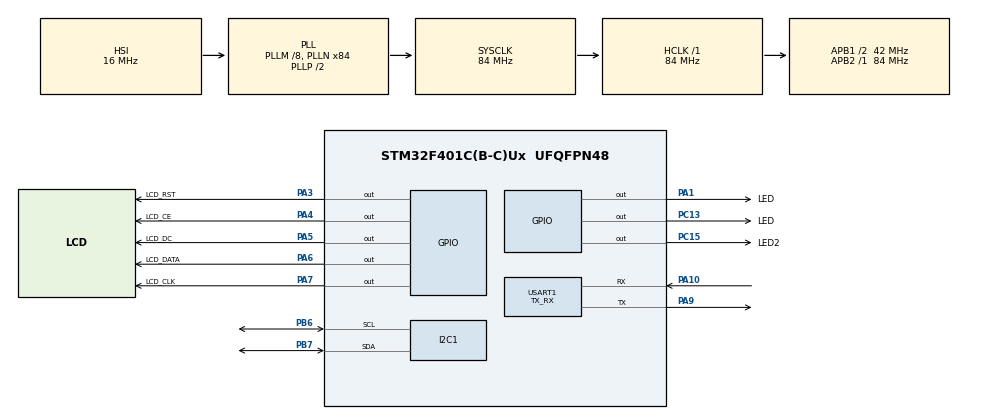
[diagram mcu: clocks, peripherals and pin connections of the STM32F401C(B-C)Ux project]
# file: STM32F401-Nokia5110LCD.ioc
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Mcu.Family=STM32F4
Mcu.Name=STM32F401C(B-C)Ux
Mcu.Package=UFQFPN48
NVIC.PriorityGroup=NVIC_PRIORITYGROUP_4
PA1.GPIO_Label=LED
PA1.Signal=GPIO_Output
PA10.Mode=Asynchronous
PA10.Signal=USART1_RX
PA13.Mode=Serial_Wire
PA13.Signal=SYS_JTMS-SWDIO
PA14.Mode=Serial_Wire
PA14.Signal=SYS_JTCK-SWCLK
PA3.GPIO_Label=LCD_RST
PA3.Signal=GPIO_Output
PA4.GPIO_Label=LCD_CE
PA4.Signal=GPIO_Output
PA5.GPIO_Label=LCD_DC
PA5.Signal=GPIO_Output
PA6.GPIO_Label=LCD_DATA
PA6.Signal=GPIO_Output
PA7.GPIO_Label=LCD_CLK
PA7.Signal=GPIO_Output
PA9.Mode=Asynchronous
PA9.Signal=USART1_TX
PB6.Mode=I2C
PB6.Signal=I2C1_SCL
PB7.Mode=I2C
PB7.Signal=I2C1_SDA
PC13-ANTI_TAMP.GPIO_Label=LED
PC13-ANTI_TAMP.PinState=GPIO_PIN_SET
PC13-ANTI_TAMP.Signal=GPIO_Output
PC15-OSC32_OUT.GPIO_Label=LED2
PC15-OSC32_OUT.GPIO_PuPd=GPIO_PULLDOWN
PC15-OSC32_OUT.Signal=GPIO_Output
PH0\ -\ OSC_IN.Mode=HSE-External-Oscillator
PH0\ -\ OSC_IN.Signal=RCC_OSC_IN
PH1\ -\ OSC_OUT.Mode=HSE-External-Oscillator
PH1\ -\ OSC_OUT.Signal=RCC_OSC_OUT
ProjectManager.HeapSize=0x200
ProjectManager.StackSize=0x400
ProjectManager.TargetToolchain=STM32CubeIDE
RCC.48MHZClocksFreq_Value=33600000
RCC.AHBFreq_Value=84000000
RCC.APB1CLKDivider=RCC_HCLK_DIV2
RCC.APB1Freq_Value=42000000
RCC.APB1TimFreq_Value=84000000
RCC.APB2Freq_Value=84000000
RCC.APB2TimFreq_Value=84000000
RCC.CortexFreq_Value=84000000
RCC.HCLKFreq_Value=84000000
RCC.HSE_VALUE=25000000
RCC.HSI_VALUE=16000000
RCC.LSE_VALUE=32768
RCC.PLLM=8
RCC.PLLN=84
RCC.PLLQ=5
RCC.SYSCLKFreq_VALUE=84000000
RCC.SYSCLKSource=RCC_SYSCLKSOURCE_PLLCLK
RCC.VCOOutputFreq_Value=168000000
USART1.Mode=MODE_TX_RX
USART1.OverSampling=UART_OVERSAMPLING_8
USART1.VirtualMode=VM_ASYNC
board=custom

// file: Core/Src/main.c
/* USER CODE BEGIN Header */
/**
  ******************************************************************************
  * @file           : main.c
  * @brief          : Main program body
  ******************************************************************************
  * @attention
  *
  * Copyright (c) 2022 STMicroelectronics.
  * All rights reserved.
  *
  * This software is licensed under terms that can be found in the LICENSE file
  * in the root directory of this software component.
  * If no LICENSE file comes with this software, it is provided AS-IS.
  *
  ******************************************************************************
  */
/* USER CODE END Header */
#include "main.h"

/* USER CODE BEGIN Includes */
#include "stm32f4xx_hal.h"
#include "nokia5110_LCD.h"
#include "BMP180.h"
#include "stdio.h"
/* USER CODE END Includes */

 I2C_HandleTypeDef hi2c1;

UART_HandleTypeDef huart1;

/* USER CODE BEGIN PV */
 uint32_t data_oku=0;
 float voltaj=0;
/* USER CODE END PV */

void SystemClock_Config(void);
static void MX_GPIO_Init(void);
static void MX_I2C1_Init(void);
static void MX_USART1_UART_Init(void);
/* USER CODE BEGIN PFP */
void test(uint8_t n, uint8_t k);

int _write(int file, char *ptr, int len)
 {
     int DataIdx;
     for (DataIdx = 0; DataIdx < len; DataIdx++)
         ITM_SendChar(*ptr++);
     return len;
 }

void baslangic()
{
	LCD_print("**************", 0, 0);
	LCD_print("*Cihaz       *", 0, 1);
	LCD_print("*Basliyor    *", 0, 2);
	LCD_print("*Lutfen      *", 0, 3);
	LCD_print("*Bekleyin..  *", 0, 4);
	LCD_print("**************", 0, 5);
	HAL_Delay(1000);
	LCD_clear();
	LCD_goXY(0,0);
}
/* USER CODE END PFP */

/* USER CODE BEGIN 0 */
float sicaklik = 0;
float basinc = 0;
float yukseklik = 0;

/* these other codes wrote for tracing ITM debuging
int _write(int file, char *ptr, int len)
{
	int i=0;
	for (i=0; i < len ;i++)
		ITM_SendChar((*ptr++));
	return len;
}*/

/* USER CODE END 0 */

int main(void)
{

  /* MCU Configuration--------------------------------------------------------*/

  /* Reset of all peripherals, Initializes the Flash interface and the Systick. */
  HAL_Init();

  /* Configure the system clock */
  SystemClock_Config();

  /* Initialize all configured peripherals */
  MX_GPIO_Init();
  MX_I2C1_Init();
  MX_USART1_UART_Init();
  /* USER CODE BEGIN 2 */

	LCD_setRST(LCD_RST_GPIO_Port, LCD_RST_Pin);
	LCD_setDC(LCD_DC_GPIO_Port, LCD_DC_Pin);
	LCD_setCE(LCD_CE_GPIO_Port, LCD_CE_Pin);
	LCD_setCLK(LCD_CLK_GPIO_Port, LCD_CLK_Pin);
	LCD_setDATA(LCD_DATA_GPIO_Port, LCD_DATA_Pin);
	LCD_init();
	BMP180_Start();
	baslangic(); // welcome message

  /* USER CODE END 2 */

  /* Infinite loop */
  /* USER CODE BEGIN WHILE */
  while (1)
  {
	  sicaklik = BMP180_GetTemp();

	  basinc = BMP180_GetPress (0);

	  yukseklik = BMP180_GetAlt(0);

	  char sicaklik_s[15];
	  char basinc_s[15];
	  char yukseklik_s[15];

	  int sicaklik_len = sprintf(sicaklik_s, "%.1f\n", sicaklik);
	  int basinc_len = sprintf(basinc_s, "%.1f\n", basinc);
	  int yukseklik_len = sprintf(yukseklik_s, "%.1f\n", yukseklik);

	  HAL_UART_Transmit(&huart1, (uint8_t*)(&sicaklik_s), sicaklik_len, HAL_MAX_DELAY);
//	  HAL_UART_Transmit(&huart1, (uint8_t*) "\n\r", 2, 100);
	  HAL_UART_Transmit(&huart1, (uint8_t*)(&yukseklik_s), yukseklik_len, HAL_MAX_DELAY);
//	  HAL_UART_Transmit(&huart1, (uint8_t*) "\n\r", 2, 100);
	  HAL_UART_Transmit(&huart1, (uint8_t*)(&basinc_s), basinc_len, HAL_MAX_DELAY);
//	  HAL_UART_Transmit(&huart1, (uint8_t*) "\n\r", 2, 100);

	  HAL_Delay(500);

	//  veri_oku();
	//  veri_yaz(data_oku, voltaj);

	  LCD_print("Barometre ", 0, 0);
	  LCD_print("==============", 0, 1);
	  LCD_print("Sicaklik: ", 0, 2);
	  LCD_print_float(sicaklik, 55, 2, FONT_SMALL);
	  LCD_print("Basinc: ", 0, 3);
	  LCD_print_float(basinc, 55, 3, FONT_SMALL);
	  LCD_print("Yksklik: ", 0, 4);
	  LCD_print_float(yukseklik, 55, 4, FONT_SMALL);
	  HAL_Delay(100);
	if(sicaklik > 30 )
	{
		HAL_GPIO_WritePin(GPIOC, GPIO_PIN_13, GPIO_PIN_SET);
		HAL_GPIO_WritePin(GPIOA, GPIO_PIN_1, GPIO_PIN_SET);
		LCD_print("YUKSEKSICAKLIK", 0, 5);
	}
	else
	{
		HAL_GPIO_WritePin(GPIOC, GPIO_PIN_13, GPIO_PIN_RESET);
		HAL_GPIO_WritePin(GPIOA, GPIO_PIN_1, GPIO_PIN_RESET);
		LCD_print("==============", 0, 5);
	}

  }
    /* USER CODE END WHILE */

}

void SystemClock_Config(void)
{
  RCC_OscInitTypeDef RCC_OscInitStruct = {0};
  RCC_ClkInitTypeDef RCC_ClkInitStruct = {0};

  /** Configure the main internal regulator output voltage
  */
  __HAL_RCC_PWR_CLK_ENABLE();
  __HAL_PWR_VOLTAGESCALING_CONFIG(PWR_REGULATOR_VOLTAGE_SCALE2);

  /** Initializes the RCC Oscillators according to the specified parameters
  * in the RCC_OscInitTypeDef structure.
  */
  RCC_OscInitStruct.OscillatorType = RCC_OSCILLATORTYPE_HSI;
  RCC_OscInitStruct.HSIState = RCC_HSI_ON;
  RCC_OscInitStruct.HSICalibrationValue = RCC_HSICALIBRATION_DEFAULT;
  RCC_OscInitStruct.PLL.PLLState = RCC_PLL_ON;
  RCC_OscInitStruct.PLL.PLLSource = RCC_PLLSOURCE_HSI;
  RCC_OscInitStruct.PLL.PLLM = 8;
  RCC_OscInitStruct.PLL.PLLN = 84;
  RCC_OscInitStruct.PLL.PLLP = RCC_PLLP_DIV2;
  RCC_OscInitStruct.PLL.PLLQ = 5;
  if (HAL_RCC_OscConfig(&RCC_OscInitStruct) != HAL_OK)
  {
    Error_Handler();
  }

  /** Initializes the CPU, AHB and APB buses clocks
  */
  RCC_ClkInitStruct.ClockType = RCC_CLOCKTYPE_HCLK|RCC_CLOCKTYPE_SYSCLK
                              |RCC_CLOCKTYPE_PCLK1|RCC_CLOCKTYPE_PCLK2;
  RCC_ClkInitStruct.SYSCLKSource = RCC_SYSCLKSOURCE_PLLCLK;
  RCC_ClkInitStruct.AHBCLKDivider = RCC_SYSCLK_DIV1;
  RCC_ClkInitStruct.APB1CLKDivider = RCC_HCLK_DIV2;
  RCC_ClkInitStruct.APB2CLKDivider = RCC_HCLK_DIV1;

  if (HAL_RCC_ClockConfig(&RCC_ClkInitStruct, FLASH_LATENCY_2) != HAL_OK)
  {
    Error_Handler();
  }
}

static void MX_I2C1_Init(void)
{

  hi2c1.Instance = I2C1;
  hi2c1.Init.ClockSpeed = 100000;
  hi2c1.Init.DutyCycle = I2C_DUTYCYCLE_2;
  hi2c1.Init.OwnAddress1 = 0;
  hi2c1.Init.AddressingMode = I2C_ADDRESSINGMODE_7BIT;
  hi2c1.Init.DualAddressMode = I2C_DUALADDRESS_DISABLE;
  hi2c1.Init.OwnAddress2 = 0;
  hi2c1.Init.GeneralCallMode = I2C_GENERALCALL_DISABLE;
  hi2c1.Init.NoStretchMode = I2C_NOSTRETCH_DISABLE;
  if (HAL_I2C_Init(&hi2c1) != HAL_OK)
  {
    Error_Handler();
  }

}

static void MX_USART1_UART_Init(void)
{

  huart1.Instance = USART1;
  huart1.Init.BaudRate = 115200;
  huart1.Init.WordLength = UART_WORDLENGTH_8B;
  huart1.Init.StopBits = UART_STOPBITS_1;
  huart1.Init.Parity = UART_PARITY_NONE;
  huart1.Init.Mode = UART_MODE_TX_RX;
  huart1.Init.HwFlowCtl = UART_HWCONTROL_NONE;
  huart1.Init.OverSampling = UART_OVERSAMPLING_8;
  if (HAL_UART_Init(&huart1) != HAL_OK)
  {
    Error_Handler();
  }

}

static void MX_GPIO_Init(void)
{
  GPIO_InitTypeDef GPIO_InitStruct = {0};

  /* GPIO Ports Clock Enable */
  __HAL_RCC_GPIOC_CLK_ENABLE();
  __HAL_RCC_GPIOH_CLK_ENABLE();
  __HAL_RCC_GPIOA_CLK_ENABLE();
  __HAL_RCC_GPIOB_CLK_ENABLE();

  /*Configure GPIO pin Output Level */
  HAL_GPIO_WritePin(LED_GPIO_Port, LED_Pin, GPIO_PIN_SET);

  /*Configure GPIO pin Output Level */
  HAL_GPIO_WritePin(LED2_GPIO_Port, LED2_Pin, GPIO_PIN_RESET);

  /*Configure GPIO pin Output Level */
  HAL_GPIO_WritePin(GPIOA, LEDA1_Pin|LCD_RST_Pin|LCD_CE_Pin|LCD_DC_Pin
                          |LCD_DATA_Pin|LCD_CLK_Pin, GPIO_PIN_RESET);

  /*Configure GPIO pin : LED_Pin */
  GPIO_InitStruct.Pin = LED_Pin;
  GPIO_InitStruct.Mode = GPIO_MODE_OUTPUT_PP;
  GPIO_InitStruct.Pull = GPIO_NOPULL;
  GPIO_InitStruct.Speed = GPIO_SPEED_FREQ_LOW;
  HAL_GPIO_Init(LED_GPIO_Port, &GPIO_InitStruct);

  /*Configure GPIO pin : LED2_Pin */
  GPIO_InitStruct.Pin = LED2_Pin;
  GPIO_InitStruct.Mode = GPIO_MODE_OUTPUT_PP;
  GPIO_InitStruct.Pull = GPIO_PULLDOWN;
  GPIO_InitStruct.Speed = GPIO_SPEED_FREQ_LOW;
  HAL_GPIO_Init(LED2_GPIO_Port, &GPIO_InitStruct);

  /*Configure GPIO pins : LEDA1_Pin LCD_RST_Pin LCD_CE_Pin LCD_DC_Pin
                           LCD_DATA_Pin LCD_CLK_Pin */
  GPIO_InitStruct.Pin = LEDA1_Pin|LCD_RST_Pin|LCD_CE_Pin|LCD_DC_Pin
                          |LCD_DATA_Pin|LCD_CLK_Pin;
  GPIO_InitStruct.Mode = GPIO_MODE_OUTPUT_PP;
  GPIO_InitStruct.Pull = GPIO_NOPULL;
  GPIO_InitStruct.Speed = GPIO_SPEED_FREQ_LOW;
  HAL_GPIO_Init(GPIOA, &GPIO_InitStruct);

}

void Error_Handler(void)
{
  __disable_irq();
  while (1)
  {
  }
}
